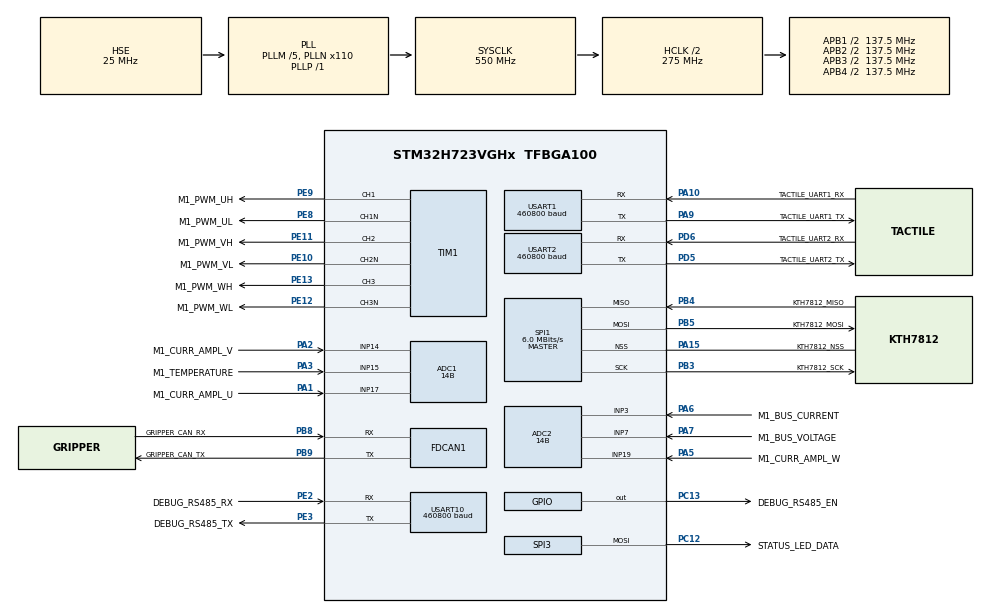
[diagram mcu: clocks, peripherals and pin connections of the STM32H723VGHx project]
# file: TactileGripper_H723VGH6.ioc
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ADC1.Channel-1\#ChannelRegularConversion=ADC_CHANNEL_15
ADC1.ClockPrescaler=ADC_CLOCK_ASYNC_DIV1
ADC1.ContinuousConvMode=DISABLE
ADC1.ConversionDataManagement=ADC_CONVERSIONDATA_DR
ADC1.DiscontinuousConvMode=DISABLE
ADC1.EOCSelection=ADC_EOC_SINGLE_CONV
ADC1.EnableAnalogWatchDog1=false
ADC1.EnableAnalogWatchDog2=false
ADC1.EnableAnalogWatchDog3=false
ADC1.EnableInjectedConversion=ENABLE
ADC1.EnableRegularConversion=ENABLE
ADC1.ExternalTrigConv=ADC_SOFTWARE_START
ADC1.ExternalTrigConvEdge=ADC_EXTERNALTRIGCONVEDGE_NONE
ADC1.ExternalTrigInjecConv=ADC_EXTERNALTRIGINJEC_T1_TRGO
ADC1.ExternalTrigInjecConvEdge=ADC_EXTERNALTRIGINJECCONV_EDGE_RISING
ADC1.InjNumberOfConversion=2
ADC1.InjectedChannel-1\#ChannelInjectedConversion=ADC_CHANNEL_17
ADC1.InjectedChannel-2\#ChannelInjectedConversion=ADC_CHANNEL_14
ADC1.InjectedConvMode=Discontinuous
ADC1.InjectedOffset-1\#ChannelInjectedConversion=0
ADC1.InjectedOffset-2\#ChannelInjectedConversion=0
ADC1.InjectedOffsetNumber-1\#ChannelInjectedConversion=ADC_OFFSET_NONE
ADC1.InjectedOffsetNumber-2\#ChannelInjectedConversion=ADC_OFFSET_NONE
ADC1.InjectedRank-1\#ChannelInjectedConversion=1
ADC1.InjectedRank-2\#ChannelInjectedConversion=2
ADC1.InjectedSamplingTime-1\#ChannelInjectedConversion=ADC_SAMPLETIME_8CYCLES_5
ADC1.InjectedSamplingTime-2\#ChannelInjectedConversion=ADC_SAMPLETIME_8CYCLES_5
ADC1.LeftBitShift=ADC_LEFTBITSHIFT_2
ADC1.LowPowerAutoWait=DISABLE
ADC1.NbrOfConversion=1
ADC1.NbrOfConversionFlag=1
ADC1.Offset-1\#ChannelRegularConversion=0
ADC1.OffsetNumber-1\#ChannelRegularConversion=ADC_OFFSET_NONE
ADC1.Overrun=ADC_OVR_DATA_PRESERVED
ADC1.Rank-1\#ChannelRegularConversion=1
ADC1.Resolution=ADC_RESOLUTION_14B
ADC1.SamplingTime-1\#ChannelRegularConversion=ADC_SAMPLETIME_64CYCLES_5
ADC1.ScanConvMode=ADC_SCAN_ENABLE
ADC1.injectedQueueMode=DISABLE
ADC1.master=1
ADC2.AWD1HighThreshold=9243
ADC2.AWD1ITMode=ENABLE
ADC2.AWD1LowThreshold=7257
ADC2.Channel-1\#ChannelRegularConversion=ADC_CHANNEL_7
ADC2.ClockPrescaler=ADC_CLOCK_ASYNC_DIV1
ADC2.ContinuousConvMode=DISABLE
ADC2.ConversionDataManagement=ADC_CONVERSIONDATA_DR
ADC2.DiscontinuousConvMode=DISABLE
ADC2.EOCSelection=ADC_EOC_SINGLE_CONV
ADC2.EnableAnalogWatchDog1=true
ADC2.EnableAnalogWatchDog2=false
ADC2.EnableAnalogWatchDog3=false
ADC2.EnableInjectedConversion=ENABLE
ADC2.EnableRegularConversion=ENABLE
ADC2.ExternalTrigConv=ADC_SOFTWARE_START
ADC2.ExternalTrigConvEdge=ADC_EXTERNALTRIGCONVEDGE_NONE
ADC2.ExternalTrigInjecConv=ADC_EXTERNALTRIGINJEC_T1_TRGO
ADC2.ExternalTrigInjecConvEdge=ADC_EXTERNALTRIGINJECCONV_EDGE_RISING
ADC2.InjNumberOfConversion=2
ADC2.InjectedChannel-1\#ChannelInjectedConversion=ADC_CHANNEL_19
ADC2.InjectedChannel-2\#ChannelInjectedConversion=ADC_CHANNEL_14
ADC2.InjectedConvMode=Discontinuous
ADC2.InjectedOffset-1\#ChannelInjectedConversion=0
ADC2.InjectedOffset-2\#ChannelInjectedConversion=0
ADC2.InjectedOffsetNumber-1\#ChannelInjectedConversion=ADC_OFFSET_NONE
ADC2.InjectedOffsetNumber-2\#ChannelInjectedConversion=ADC_OFFSET_NONE
ADC2.InjectedRank-1\#ChannelInjectedConversion=1
ADC2.InjectedRank-2\#ChannelInjectedConversion=2
ADC2.InjectedSamplingTime-1\#ChannelInjectedConversion=ADC_SAMPLETIME_8CYCLES_5
ADC2.InjectedSamplingTime-2\#ChannelInjectedConversion=ADC_SAMPLETIME_8CYCLES_5
ADC2.LeftBitShift=ADC_LEFTBITSHIFT_2
ADC2.LowPowerAutoWait=DISABLE
ADC2.NbrOfConversion=1
ADC2.NbrOfConversionFlag=1
ADC2.Offset-1\#ChannelRegularConversion=0
ADC2.OffsetNumber-1\#ChannelRegularConversion=ADC_OFFSET_NONE
ADC2.Overrun=ADC_OVR_DATA_PRESERVED
ADC2.Rank-1\#ChannelRegularConversion=1
ADC2.Resolution=ADC_RESOLUTION_14B
ADC2.SamplingTime-1\#ChannelRegularConversion=ADC_SAMPLETIME_64CYCLES_5
ADC2.ScanConvMode=ADC_SCAN_ENABLE
ADC2.WatchdogChannel=ADC_CHANNEL_3
ADC2.WatchdogMode=ADC_ANALOGWATCHDOG_SINGLE_REG
ADC2.injectedQueueMode=DISABLE
CORTEX_M7.default_mode_Activation=1
DMA.Request0=USART1_RX
DMA.Request1=USART1_TX
DMA.Request2=SPI3_TX
DMA.Request3=USART2_RX
DMA.RequestsNb=4
DMA.SPI3_TX.2.Direction=DMA_MEMORY_TO_PERIPH
DMA.SPI3_TX.2.EventEnable=DISABLE
DMA.SPI3_TX.2.FIFOMode=DMA_FIFOMODE_DISABLE
DMA.SPI3_TX.2.Instance=DMA1_Stream2
DMA.SPI3_TX.2.MemDataAlignment=DMA_MDATAALIGN_BYTE
DMA.SPI3_TX.2.MemInc=DMA_MINC_ENABLE
DMA.SPI3_TX.2.Mode=DMA_NORMAL
DMA.SPI3_TX.2.PeriphDataAlignment=DMA_PDATAALIGN_BYTE
DMA.SPI3_TX.2.PeriphInc=DMA_PINC_DISABLE
DMA.SPI3_TX.2.Priority=DMA_PRIORITY_LOW
DMA.USART1_RX.0.Direction=DMA_PERIPH_TO_MEMORY
DMA.USART1_RX.0.EventEnable=DISABLE
DMA.USART1_RX.0.FIFOMode=DMA_FIFOMODE_DISABLE
DMA.USART1_RX.0.Instance=DMA1_Stream0
DMA.USART1_RX.0.MemDataAlignment=DMA_MDATAALIGN_BYTE
DMA.USART1_RX.0.MemInc=DMA_MINC_ENABLE
DMA.USART1_RX.0.Mode=DMA_CIRCULAR
DMA.USART1_RX.0.PeriphDataAlignment=DMA_PDATAALIGN_BYTE
DMA.USART1_RX.0.PeriphInc=DMA_PINC_DISABLE
DMA.USART1_RX.0.Priority=DMA_PRIORITY_HIGH
DMA.USART1_TX.1.Direction=DMA_MEMORY_TO_PERIPH
DMA.USART1_TX.1.EventEnable=DISABLE
DMA.USART1_TX.1.FIFOMode=DMA_FIFOMODE_DISABLE
DMA.USART1_TX.1.Instance=DMA1_Stream1
DMA.USART1_TX.1.MemDataAlignment=DMA_MDATAALIGN_BYTE
DMA.USART1_TX.1.MemInc=DMA_MINC_ENABLE
DMA.USART1_TX.1.Mode=DMA_NORMAL
DMA.USART1_TX.1.PeriphDataAlignment=DMA_PDATAALIGN_BYTE
DMA.USART1_TX.1.PeriphInc=DMA_PINC_DISABLE
DMA.USART1_TX.1.Priority=DMA_PRIORITY_LOW
DMA.USART2_RX.3.Direction=DMA_PERIPH_TO_MEMORY
DMA.USART2_RX.3.EventEnable=DISABLE
DMA.USART2_RX.3.FIFOMode=DMA_FIFOMODE_DISABLE
DMA.USART2_RX.3.Instance=DMA1_Stream3
DMA.USART2_RX.3.MemDataAlignment=DMA_MDATAALIGN_BYTE
DMA.USART2_RX.3.MemInc=DMA_MINC_ENABLE
DMA.USART2_RX.3.Mode=DMA_CIRCULAR
DMA.USART2_RX.3.PeriphDataAlignment=DMA_PDATAALIGN_BYTE
DMA.USART2_RX.3.PeriphInc=DMA_PINC_DISABLE
DMA.USART2_RX.3.Priority=DMA_PRIORITY_HIGH
FREERTOS.INCLUDE_vTaskDelayUntil=1
FREERTOS.Tasks01=defaultTask,24,128,StartDefaultTask,Default,NULL,Dynamic,NULL,NULL
FREERTOS.configTICK_RATE_HZ=2000
FDCAN1.AutoRetransmission=ENABLE
FDCAN1.CalculateBaudRateNominal=500000
FDCAN1.CalculateTimeBitNominal=2000
FDCAN1.CalculateTimeQuantumNominal=125.0
FDCAN1.ExtFiltersNbr=2
FDCAN1.FrameFormat=FDCAN_FRAME_CLASSIC
FDCAN1.NominalPrescaler=6
FDCAN1.NominalSyncJumpWidth=2
FDCAN1.NominalTimeSeg1=13
FDCAN1.NominalTimeSeg2=2
FDCAN1.RxFifo0ElmtsNbr=8
FDCAN1.StdFiltersNbr=0
FDCAN1.TxBuffersNbr=0
FDCAN1.TxFifoQueueElmtsNbr=8
Mcu.Family=STM32H7
Mcu.Name=STM32H723VGHx
Mcu.Package=TFBGA100
NVIC.ADC_IRQn=true\:2\:0\:true\:true\:false\:5\:false\:true\:true
NVIC.DMA1_Stream0_IRQn=true\:7\:0\:true\:true\:false\:true\:false\:true\:true
NVIC.DMA1_Stream2_IRQn=true\:7\:0\:true\:true\:false\:true\:false\:true\:true
NVIC.DMA1_Stream3_IRQn=true\:7\:0\:true\:true\:false\:true\:false\:true\:true
NVIC.FDCAN1_IT0_IRQn=true\:6\:0\:true\:true\:false\:true\:false\:true\:true
NVIC.PriorityGroup=NVIC_PRIORITYGROUP_4
NVIC.TIM1_BRK_IRQn=true\:1\:0\:true\:true\:false\:3\:false\:true\:true
NVIC.TIM1_UP_IRQn=true\:0\:0\:true\:true\:false\:4\:false\:true\:true
NVIC.TIM6_DAC_IRQn=true\:15\:0\:false\:false\:true\:false\:false\:true\:true
NVIC.SPI3_IRQn=true\:7\:0\:true\:true\:false\:true\:false\:true\:true
NVIC.TimeBase=TIM6_DAC_IRQn
NVIC.TimeBaseIP=TIM6
NVIC.USART1_IRQn=true\:6\:0\:true\:true\:false\:1\:false\:true\:true
NVIC.USART2_IRQn=true\:6\:0\:true\:true\:false\:true\:false\:true\:true
NVIC.USART10_IRQn=true\:6\:0\:true\:true\:false\:true\:false\:true\:true
PH0-OSC_IN.Mode=HSE-External-Oscillator
PH0-OSC_IN.Signal=RCC_OSC_IN
PH1-OSC_OUT.Mode=HSE-External-Oscillator
PH1-OSC_OUT.Signal=RCC_OSC_OUT
PA1.GPIO_Label=M1_CURR_AMPL_U
PA1.Mode=IN17-Single-Ended
PA1.Signal=ADC1_INP17
PA10.GPIO_Label=TACTILE_UART1_RX
PA10.GPIO_Mode=GPIO_MODE_AF_PP
PA10.GPIO_PuPd=GPIO_PULLUP
PA10.GPIO_Speed=GPIO_SPEED_FREQ_VERY_HIGH
PA10.Mode=Asynchronous
PA10.Signal=USART1_RX
PA15.GPIO_Label=KTH7812_NSS
PA15.GPIO_PuPd=GPIO_PULLUP
PA15.GPIO_Speed=GPIO_SPEED_FREQ_VERY_HIGH
PA15.Mode=Full_Duplex_Master
PA15.Signal=SPI1_NSS
PA2.GPIO_Label=M1_CURR_AMPL_V
PA2.Signal=SharedAnalog_PA2
PA3.GPIO_Label=M1_TEMPERATURE
PA3.Mode=IN15-Single-Ended
PA3.Signal=ADC1_INP15
PA5.GPIO_Label=M1_CURR_AMPL_W
PA5.Mode=IN19-Single-Ended
PA5.Signal=ADC2_INP19
PA6.GPIO_Label=M1_BUS_CURRENT
PA6.Mode=IN3-Single-Ended
PA6.Signal=ADC2_INP3
PA7.GPIO_Label=M1_BUS_VOLTAGE
PA7.Mode=IN7-Single-Ended
PA7.Signal=ADC2_INP7
PA9.GPIO_Label=TACTILE_UART1_TX
PA9.GPIO_Mode=GPIO_MODE_AF_PP
PA9.GPIO_PuPd=GPIO_NOPULL
PA9.GPIO_Speed=GPIO_SPEED_FREQ_VERY_HIGH
PA9.Mode=Asynchronous
PA9.Signal=USART1_TX
PC12.GPIO_Label=STATUS_LED_DATA
PC12.GPIO_PuPd=GPIO_NOPULL
PC12.GPIO_Speed=GPIO_SPEED_FREQ_VERY_HIGH
PC12.Mode=Full_Duplex_Master
PC12.Signal=SPI3_MOSI
PC13.GPIO_Label=DEBUG_RS485_EN
PC13.GPIO_ModeDefaultOutputPP=GPIO_MODE_OUTPUT_PP
PC13.GPIO_PuPd=GPIO_NOPULL
PC13.GPIO_Speed=GPIO_SPEED_FREQ_HIGH
PC13.PinState=GPIO_PIN_RESET
PC13.Signal=GPIO_Output
PB3.GPIO_Label=KTH7812_SCK
PB3.GPIO_PuPd=GPIO_NOPULL
PB3.GPIO_Speed=GPIO_SPEED_FREQ_VERY_HIGH
PB3.Mode=Full_Duplex_Master
PB3.Signal=SPI1_SCK
PB4.GPIO_Label=KTH7812_MISO
PB4.GPIO_PuPd=GPIO_NOPULL
PB4.GPIO_Speed=GPIO_SPEED_FREQ_VERY_HIGH
PB4.Mode=Full_Duplex_Master
PB4.Signal=SPI1_MISO
PB5.GPIO_Label=KTH7812_MOSI
PB5.GPIO_PuPd=GPIO_NOPULL
PB5.GPIO_Speed=GPIO_SPEED_FREQ_VERY_HIGH
PB5.Mode=Full_Duplex_Master
PB5.Signal=SPI1_MOSI
PB8.GPIO_Label=GRIPPER_CAN_RX
PB8.Mode=FDCAN_Activate
PB8.Signal=FDCAN1_RX
PB9.GPIO_Label=GRIPPER_CAN_TX
PB9.Mode=FDCAN_Activate
PB9.Signal=FDCAN1_TX
PD5.GPIO_Label=TACTILE_UART2_TX
PD5.GPIO_Mode=GPIO_MODE_AF_PP
PD5.GPIO_PuPd=GPIO_NOPULL
PD5.GPIO_Speed=GPIO_SPEED_FREQ_VERY_HIGH
PD5.Mode=Asynchronous
PD5.Signal=USART2_TX
PD6.GPIO_Label=TACTILE_UART2_RX
PD6.GPIO_Mode=GPIO_MODE_AF_PP
PD6.GPIO_PuPd=GPIO_PULLUP
PD6.GPIO_Speed=GPIO_SPEED_FREQ_VERY_HIGH
PD6.Mode=Asynchronous
PD6.Signal=USART2_RX
PE2.GPIO_Label=DEBUG_RS485_RX
PE2.GPIO_Mode=GPIO_MODE_AF_PP
PE2.GPIO_PuPd=GPIO_NOPULL
PE2.GPIO_Speed=GPIO_SPEED_FREQ_VERY_HIGH
PE2.Mode=Asynchronous
PE2.Signal=USART10_RX
PE3.GPIO_Label=DEBUG_RS485_TX
PE3.GPIO_Mode=GPIO_MODE_AF_PP
PE3.GPIO_PuPd=GPIO_NOPULL
PE3.GPIO_Speed=GPIO_SPEED_FREQ_VERY_HIGH
PE3.Mode=Asynchronous
PE3.Signal=USART10_TX
PE10.GPIO_Label=M1_PWM_VL
PE10.GPIO_PuPd=GPIO_PULLDOWN
PE10.GPIO_Speed=GPIO_SPEED_FREQ_VERY_HIGH
PE10.Mode=PWM Generation2 CH2 CH2N
PE10.Signal=TIM1_CH2N
PE11.GPIO_Label=M1_PWM_VH
PE11.GPIO_PuPd=GPIO_PULLDOWN
PE11.GPIO_Speed=GPIO_SPEED_FREQ_VERY_HIGH
PE11.Signal=S_TIM1_CH2
PE12.GPIO_Label=M1_PWM_WL
PE12.GPIO_PuPd=GPIO_PULLDOWN
PE12.GPIO_Speed=GPIO_SPEED_FREQ_VERY_HIGH
PE12.Mode=PWM Generation3 CH3 CH3N
PE12.Signal=TIM1_CH3N
PE13.GPIO_Label=M1_PWM_WH
PE13.GPIO_PuPd=GPIO_PULLDOWN
PE13.GPIO_Speed=GPIO_SPEED_FREQ_VERY_HIGH
PE13.Signal=S_TIM1_CH3
PE8.GPIO_Label=M1_PWM_UL
PE8.GPIO_PuPd=GPIO_PULLDOWN
PE8.GPIO_Speed=GPIO_SPEED_FREQ_VERY_HIGH
PE8.Mode=PWM Generation1 CH1 CH1N
PE8.Signal=TIM1_CH1N
PE9.GPIO_Label=M1_PWM_UH
PE9.GPIO_PuPd=GPIO_PULLDOWN
PE9.GPIO_Speed=GPIO_SPEED_FREQ_VERY_HIGH
PE9.Signal=S_TIM1_CH1
ProjectManager.HeapSize=0x200
ProjectManager.StackSize=0x400
ProjectManager.TargetToolchain=MDK-ARM V5.32
RCC.ADCFreq_Value=24000000
RCC.APB1Freq_Value=137500000
RCC.APB2Freq_Value=137500000
RCC.APB3Freq_Value=137500000
RCC.APB4Freq_Value=137500000
RCC.CortexFreq_Value=550000000
RCC.D1PPRE=RCC_APB3_DIV2
RCC.D2PPRE1=RCC_APB1_DIV2
RCC.D2PPRE2=RCC_APB2_DIV2
RCC.D3PPRE=RCC_APB4_DIV2
RCC.DIVM1=5
RCC.DIVM2=5
RCC.DIVN1=110
RCC.DIVN2=96
RCC.DIVP1=1
RCC.DIVP2=20
RCC.DIVQ2=10
RCC.DIVR2=10
RCC.HCLKFreq_Value=275000000
RCC.HPRE=RCC_HCLK_DIV2
RCC.HSE_VALUE=25000000
RCC.PLL2FRACN=0
RCC.PLL3FRACN=0
RCC.PLLFRACN=0
RCC.PLLSourceVirtual=RCC_PLLSOURCE_HSE
RCC.SPI123CLockSelection=RCC_SPI123CLKSOURCE_PLL2
RCC.SYSCLKFreq_VALUE=550000000
RCC.SYSCLKSource=RCC_SYSCLKSOURCE_PLLCLK
RCC.SupplySource=PWR_LDO_SUPPLY
SH.S_TIM1_CH1.0=TIM1_CH1,PWM Generation1 CH1 CH1N
SH.S_TIM1_CH2.0=TIM1_CH2,PWM Generation2 CH2 CH2N
SH.S_TIM1_CH3.0=TIM1_CH3,PWM Generation3 CH3 CH3N
SH.SharedAnalog_PA2.0=ADC1_INP14,IN14-Single-Ended
SH.SharedAnalog_PA2.1=ADC2_INP14,IN14-Single-Ended
SPI1.BaudRatePrescaler=SPI_BAUDRATEPRESCALER_8
SPI1.CLKPhase=SPI_PHASE_2EDGE
SPI1.CLKPolarity=SPI_POLARITY_HIGH
SPI1.CalculateBaudRate=6.0 MBits/s
SPI1.DataSize=SPI_DATASIZE_16BIT
SPI1.Direction=SPI_DIRECTION_2LINES
SPI1.FirstBit=SPI_FIRSTBIT_MSB
SPI1.MasterSSIdleness=SPI_MASTER_SS_IDLENESS_01CYCLE
SPI1.Mode=SPI_MODE_MASTER
SPI1.NSS=SPI_NSS_HARD_OUTPUT
SPI1.NSSPMode=SPI_NSS_PULSE_DISABLE
SPI1.VirtualType=VM_MASTER
SPI3.BaudRatePrescaler=SPI_BAUDRATEPRESCALER_16
SPI3.CalculateBaudRate=3.0 MBits/s
SPI3.CLKPhase=SPI_PHASE_1EDGE
SPI3.CLKPolarity=SPI_POLARITY_LOW
SPI3.DataSize=SPI_DATASIZE_8BIT
SPI3.Direction=SPI_DIRECTION_2LINES
SPI3.FirstBit=SPI_FIRSTBIT_MSB
SPI3.MasterKeepIOState=SPI_MASTER_KEEP_IO_STATE_ENABLE
SPI3.Mode=SPI_MODE_MASTER
SPI3.NSS=SPI_NSS_SOFT
SPI3.NSSPMode=SPI_NSS_PULSE_DISABLE
SPI3.VirtualType=VM_MASTER
TIM1.AutoReloadPreload=TIM_AUTORELOAD_PRELOAD_DISABLE
TIM1.AutomaticOutput=TIM_AUTOMATICOUTPUT_DISABLE
TIM1.Break2State=TIM_BREAK2_DISABLE
TIM1.BreakState=TIM_BREAK_DISABLE
TIM1.Channel=TIM_CHANNEL_4
TIM1.Channel-PWM\ Generation1\ CH1\ CH1N=TIM_CHANNEL_1
TIM1.Channel-PWM\ Generation2\ CH2\ CH2N=TIM_CHANNEL_2
TIM1.Channel-PWM\ Generation3\ CH3\ CH3N=TIM_CHANNEL_3
TIM1.Channel-PWM\ Generation4\ No\ Output=TIM_CHANNEL_4
TIM1.ClockDivision=TIM_CLOCKDIVISION_DIV1
TIM1.CounterMode=TIM_COUNTERMODE_CENTERALIGNED1
TIM1.DeadTime=(DEAD_TIME_COUNTS)
TIM1.LockLevel=TIM_LOCKLEVEL_OFF
TIM1.OCFastMode_PWM=TIM_OCFAST_DISABLE
TIM1.OCIdleState_1=TIM_OCIDLESTATE_RESET
TIM1.OCIdleState_2=TIM_OCIDLESTATE_RESET
TIM1.OCIdleState_3=TIM_OCIDLESTATE_RESET
TIM1.OCIdleState_4=TIM_OCIDLESTATE_RESET
TIM1.OCMode_PWM-PWM\ Generation1\ CH1\ CH1N=TIM_OCMODE_PWM1
TIM1.OCMode_PWM-PWM\ Generation2\ CH2\ CH2N=TIM_OCMODE_PWM1
TIM1.OCMode_PWM-PWM\ Generation3\ CH3\ CH3N=TIM_OCMODE_PWM1
TIM1.OCMode_PWM-PWM\ Generation4\ No\ Output=TIM_OCMODE_PWM2
TIM1.OCNIdleState_1=TIM_OCNIDLESTATE_RESET
TIM1.OCNIdleState_2=TIM_OCNIDLESTATE_RESET
TIM1.OCNIdleState_3=TIM_OCNIDLESTATE_RESET
TIM1.OCNPolarity_1=TIM_OCNPOLARITY_HIGH
TIM1.OCNPolarity_2=TIM_OCNPOLARITY_HIGH
TIM1.OCNPolarity_3=TIM_OCNPOLARITY_HIGH
TIM1.OCPolarity_1=TIM_OCPOLARITY_HIGH
TIM1.OCPolarity_2=TIM_OCPOLARITY_HIGH
TIM1.OCPolarity_3=TIM_OCPOLARITY_HIGH
TIM1.OCPolarity_4=TIM_OCPOLARITY_HIGH
TIM1.OffStateIDLEMode=TIM_OSSI_ENABLE
TIM1.OffStateRunMode=TIM_OSSR_ENABLE
TIM1.Period=((PWM_PERIOD_CYCLES) / 2)
TIM1.Prescaler=((TIM_CLOCK_DIVIDER) - 1)
TIM1.Pulse-PWM\ Generation1\ CH1\ CH1N=((PWM_PERIOD_CYCLES) / 4)
TIM1.Pulse-PWM\ Generation2\ CH2\ CH2N=((PWM_PERIOD_CYCLES) / 4)
TIM1.Pulse-PWM\ Generation3\ CH3\ CH3N=((PWM_PERIOD_CYCLES) / 4)
TIM1.Pulse-PWM\ Generation4\ No\ Output=(((PWM_PERIOD_CYCLES) / 2) - (HTMIN))
TIM1.RepetitionCounter=(REP_COUNTER)
TIM1.TIM_MasterOutputTrigger=TIM_TRGO_OC4REF
TIM1.TIM_MasterOutputTrigger2=TIM_TRGO2_RESET
TIM1.TIM_MasterSlaveMode=TIM_MASTERSLAVEMODE_DISABLE
USART1.BaudRate=460800
USART1.OneBitSampling=UART_ONE_BIT_SAMPLE_ENABLE
USART1.VirtualMode-Asynchronous=VM_ASYNC
USART1.WordLength=WORDLENGTH_8B
USART2.BaudRate=460800
USART2.OneBitSampling=UART_ONE_BIT_SAMPLE_ENABLE
USART2.VirtualMode-Asynchronous=VM_ASYNC
USART2.WordLength=WORDLENGTH_8B
USART10.BaudRate=460800
USART10.VirtualMode-Asynchronous=VM_ASYNC
USART10.WordLength=WORDLENGTH_8B
VP_FREERTOS_VS_CMSIS_V2.Mode=CMSIS_V2
VP_MEMORYMAP_VS_MEMORYMAP.Mode=CurAppReg
VP_TIM1_VS_no_output4.Mode=PWM Generation4 No Output
VP_SYS_VS_tim6.Mode=TIM6
board=custom

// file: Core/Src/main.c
/* USER CODE BEGIN Header */
/**
  ******************************************************************************
  * @file           : main.c
  * @brief          : Main program body
  ******************************************************************************
  * @attention
  *
  * Copyright (c) 2026 STMicroelectronics.
  * All rights reserved.
  *
  * This software is licensed under terms that can be found in the LICENSE file
  * in the root directory of this software component.
  * If no LICENSE file comes with this software, it is provided AS-IS.
  *
  ******************************************************************************
  */
/* USER CODE END Header */
#include "main.h"
#include "FreeRTOS.h"
#include "cmsis_os2.h"

/* USER CODE BEGIN Includes */
#include "motorcontrol.h"
#include "fdcan.h"
#include "parameters_conversion.h"
#include "motor_control_service.h"
#include "gripper_service.h"
#include "communication_service.h"
#include "gripper_can_config.h"
#include "status_indicator.h"
#include "debug_monitor.h"
#include "debug_uart_transport.h"
#include "tactile_sensor.h"
/* USER CODE END Includes */

/* USER CODE BEGIN PD */
#define CURRENT_ADC_CALIBRATION_MODE  0
#define PWM_INSPECTION_MODE           0  /* FOC17正向转矩已产生位移，FOC18用于验证反向转矩对称性。 */

/* USER CODE END PD */

ADC_HandleTypeDef hadc1;
ADC_HandleTypeDef hadc2;
SPI_HandleTypeDef hspi1;
SPI_HandleTypeDef hspi3;
TIM_HandleTypeDef htim1;
UART_HandleTypeDef huart1;
UART_HandleTypeDef huart2;
UART_HandleTypeDef huart10;
DMA_HandleTypeDef hdma_usart1_rx;
DMA_HandleTypeDef hdma_usart1_tx;
DMA_HandleTypeDef hdma_usart2_rx;
DMA_HandleTypeDef hdma_spi3_tx;

/* Definitions for defaultTask */
osThreadId_t defaultTaskHandle;
const osThreadAttr_t defaultTask_attributes = {
  .name = "defaultTask",
  .stack_size = 128 * 4,
  .priority = (osPriority_t) osPriorityNormal,
};

void SystemClock_Config(void);
static void MPU_Config(void);
static void MX_GPIO_Init(void);
static void MX_DMA_Init(void);
static void MX_ADC1_Init(void);
static void MX_ADC2_Init(void);
static void MX_SPI1_Init(void);
static void MX_SPI3_Init(void);
static void MX_TIM1_Init(void);
static void MX_USART1_UART_Init(void);
static void MX_USART2_UART_Init(void);
static void MX_USART10_UART_Init(void);
static void MX_NVIC_Init(void);
static void PeriphCommonClock_Config(void);
void HAL_TIM_MspPostInit(TIM_HandleTypeDef *htim);
void StartDefaultTask(void *argument);

int main(void)
{
  uint32_t bootResetFlags;

  /* MPU Configuration--------------------------------------------------------*/
  MPU_Config();
  bootResetFlags = RCC->RSR;

  /* MCU Configuration--------------------------------------------------------*/

  /* Reset of all peripherals, Initializes the Flash interface and the Systick. */
  HAL_Init();

  /* Configure the system clock */
  SystemClock_Config();

  PeriphCommonClock_Config();

  /* Initialize all configured peripherals */
  MX_GPIO_Init();
  MX_DMA_Init();
  MX_ADC1_Init();
  MX_ADC2_Init();
#if GRIPPER_CAN_ENABLE
  MX_FDCAN1_Init();
#endif
  MX_SPI1_Init();
  MX_SPI3_Init();
  MX_TIM1_Init();
  MX_USART1_UART_Init();
  MX_USART2_UART_Init();
  MX_USART10_UART_Init();
  DebugUartTransport_InitRs485(&huart10,
                               DEBUG_RS485_EN_GPIO_Port,
                               DEBUG_RS485_EN_Pin);
  TactileSensor_Init(&huart1, &huart2);
#if PWM_INSPECTION_MODE
  DebugMonitor_RunPwmBaselineVectorInspection(bootResetFlags);
#else
  DebugMonitor_PrintResetReason(bootResetFlags);
#endif
#if !CURRENT_ADC_CALIBRATION_MODE
  /* 先完成ADC2母线电流零偏读取，再由MCSDK启动双ADC注入转换。 */
  (void)DebugMonitor_CalibrateBusCurrent();
#endif
  (void)DebugUartTransport_Write("BOOT,mc_init_begin\r\n", 10U);
  MX_MotorControl_Init();
  (void)DebugUartTransport_Write("BOOT,mc_init_done\r\n", 10U);
#if CURRENT_ADC_CALIBRATION_MODE
  DebugMonitor_RunCurrentAdcCalibration();
#endif
  MX_NVIC_Init();
  (void)DebugUartTransport_Write("BOOT,nvic_done\r\n", 10U);

  /* Init scheduler */
  osKernelInitialize();
  DebugUartTransport_InitRs485(&huart10,
                               DEBUG_RS485_EN_GPIO_Port,
                               DEBUG_RS485_EN_Pin);

  /* Create the thread(s) */
  /* creation of defaultTask */
  defaultTaskHandle = osThreadNew(StartDefaultTask, NULL, &defaultTask_attributes);

  /* USER CODE BEGIN RTOS_THREADS */
  TactileSensor_CreateTask();
  MotorControlService_CreateTasks();
  GripperService_CreateTask();
#if GRIPPER_CAN_ENABLE
  CommunicationService_CreateTask();
#endif
  StatusIndicator_CreateTask();
  DebugMonitor_CreateTask();
  /* USER CODE END RTOS_THREADS */

  /* Start scheduler */
  (void)DebugUartTransport_Write("BOOT,kernel_start\r\n", 10U);
  osKernelStart();

  /* We should never get here as control is now taken by the scheduler */

  /* Infinite loop */
  while (1)
  {

  }
}

void SystemClock_Config(void)
{
  RCC_OscInitTypeDef RCC_OscInitStruct = {0};
  RCC_ClkInitTypeDef RCC_ClkInitStruct = {0};

  /** Supply configuration update enable
  */
  HAL_PWREx_ConfigSupply(PWR_LDO_SUPPLY);

  /** Configure the main internal regulator output voltage
  */
  __HAL_PWR_VOLTAGESCALING_CONFIG(PWR_REGULATOR_VOLTAGE_SCALE0);

  while(!__HAL_PWR_GET_FLAG(PWR_FLAG_VOSRDY)) {}

  /** Initializes the RCC Oscillators according to the specified parameters
  * in the RCC_OscInitTypeDef structure.
  */
  RCC_OscInitStruct.OscillatorType = RCC_OSCILLATORTYPE_HSE;
  RCC_OscInitStruct.HSEState = RCC_HSE_ON;
  RCC_OscInitStruct.PLL.PLLState = RCC_PLL_ON;
  RCC_OscInitStruct.PLL.PLLSource = RCC_PLLSOURCE_HSE;
  RCC_OscInitStruct.PLL.PLLM = 5;
  RCC_OscInitStruct.PLL.PLLN = 110;
  RCC_OscInitStruct.PLL.PLLP = 1;
  RCC_OscInitStruct.PLL.PLLQ = 2;
  RCC_OscInitStruct.PLL.PLLR = 2;
  RCC_OscInitStruct.PLL.PLLRGE = RCC_PLL1VCIRANGE_2;
  RCC_OscInitStruct.PLL.PLLVCOSEL = RCC_PLL1VCOWIDE;
  RCC_OscInitStruct.PLL.PLLFRACN = 0;
  if (HAL_RCC_OscConfig(&RCC_OscInitStruct) != HAL_OK)
  {
    Error_Handler();
  }

  /** Initializes the CPU, AHB and APB buses clocks
  */
  RCC_ClkInitStruct.ClockType = RCC_CLOCKTYPE_HCLK|RCC_CLOCKTYPE_SYSCLK
                              |RCC_CLOCKTYPE_PCLK1|RCC_CLOCKTYPE_PCLK2
                              |RCC_CLOCKTYPE_D3PCLK1|RCC_CLOCKTYPE_D1PCLK1;
  RCC_ClkInitStruct.SYSCLKSource = RCC_SYSCLKSOURCE_PLLCLK;
  RCC_ClkInitStruct.SYSCLKDivider = RCC_SYSCLK_DIV1;
  RCC_ClkInitStruct.AHBCLKDivider = RCC_HCLK_DIV2;
  RCC_ClkInitStruct.APB3CLKDivider = RCC_APB3_DIV2;
  RCC_ClkInitStruct.APB1CLKDivider = RCC_APB1_DIV2;
  RCC_ClkInitStruct.APB2CLKDivider = RCC_APB2_DIV2;
  RCC_ClkInitStruct.APB4CLKDivider = RCC_APB4_DIV2;

  if (HAL_RCC_ClockConfig(&RCC_ClkInitStruct, FLASH_LATENCY_3) != HAL_OK)
  {
    Error_Handler();
  }
}

static void PeriphCommonClock_Config(void)
{
  RCC_PeriphCLKInitTypeDef PeriphClkInitStruct = {0};

  PeriphClkInitStruct.PeriphClockSelection = RCC_PERIPHCLK_ADC |
                                             RCC_PERIPHCLK_SPI1 |
                                             RCC_PERIPHCLK_USART1 |
                                             RCC_PERIPHCLK_USART2 |
                                             RCC_PERIPHCLK_USART10;
#if GRIPPER_CAN_ENABLE
  PeriphClkInitStruct.PeriphClockSelection |= RCC_PERIPHCLK_FDCAN;
#endif
  PeriphClkInitStruct.PLL2.PLL2M = 5;
  PeriphClkInitStruct.PLL2.PLL2N = 96;
  PeriphClkInitStruct.PLL2.PLL2P = 20;
  PeriphClkInitStruct.PLL2.PLL2Q = 10;
  PeriphClkInitStruct.PLL2.PLL2R = 10;
  PeriphClkInitStruct.PLL2.PLL2RGE = RCC_PLL2VCIRANGE_2;
  PeriphClkInitStruct.PLL2.PLL2VCOSEL = RCC_PLL2VCOWIDE;
  PeriphClkInitStruct.PLL2.PLL2FRACN = 0;
  PeriphClkInitStruct.AdcClockSelection = RCC_ADCCLKSOURCE_PLL2;
  PeriphClkInitStruct.Spi123ClockSelection = RCC_SPI123CLKSOURCE_PLL2;
  PeriphClkInitStruct.Usart16ClockSelection = RCC_USART16CLKSOURCE_D2PCLK2;
  PeriphClkInitStruct.Usart234578ClockSelection =
    RCC_USART234578CLKSOURCE_D2PCLK1;
#if GRIPPER_CAN_ENABLE
  PeriphClkInitStruct.FdcanClockSelection = RCC_FDCANCLKSOURCE_PLL2;
#endif
  if (HAL_RCCEx_PeriphCLKConfig(&PeriphClkInitStruct) != HAL_OK)
  {
    Error_Handler();
  }
}

static void MX_ADC1_Init(void)
{
  ADC_MultiModeTypeDef multimode = {0};
  ADC_InjectionConfTypeDef injected = {0};
  ADC_ChannelConfTypeDef regular = {0};

  hadc1.Instance = ADC1;
  hadc1.Init.ClockPrescaler = ADC_CLOCK_ASYNC_DIV1;
  hadc1.Init.Resolution = ADC_RESOLUTION_14B;
  hadc1.Init.ScanConvMode = ADC_SCAN_ENABLE;
  hadc1.Init.EOCSelection = ADC_EOC_SINGLE_CONV;
  hadc1.Init.LowPowerAutoWait = DISABLE;
  hadc1.Init.ContinuousConvMode = DISABLE;
  hadc1.Init.NbrOfConversion = 1;
  hadc1.Init.DiscontinuousConvMode = DISABLE;
  hadc1.Init.ExternalTrigConv = ADC_SOFTWARE_START;
  hadc1.Init.ExternalTrigConvEdge = ADC_EXTERNALTRIGCONVEDGE_NONE;
  hadc1.Init.ConversionDataManagement = ADC_CONVERSIONDATA_DR;
  hadc1.Init.Overrun = ADC_OVR_DATA_PRESERVED;
  hadc1.Init.LeftBitShift = ADC_LEFTBITSHIFT_2;
  hadc1.Init.OversamplingMode = DISABLE;
  if (HAL_ADC_Init(&hadc1) != HAL_OK)
  {
    Error_Handler();
  }

  multimode.Mode = ADC_MODE_INDEPENDENT;
  if (HAL_ADCEx_MultiModeConfigChannel(&hadc1, &multimode) != HAL_OK)
  {
    Error_Handler();
  }
  HAL_ADCEx_DisableInjectedQueue(&hadc1);

  injected.InjectedChannel = ADC_CHANNEL_17;
  injected.InjectedRank = ADC_INJECTED_RANK_1;
  injected.InjectedSamplingTime = ADC_SAMPLETIME_8CYCLES_5;
  injected.InjectedSingleDiff = ADC_SINGLE_ENDED;
  injected.InjectedOffsetNumber = ADC_OFFSET_NONE;
  injected.InjectedOffset = 0;
  injected.InjectedNbrOfConversion = 2;
  injected.InjectedDiscontinuousConvMode = ENABLE;
  injected.AutoInjectedConv = DISABLE;
  injected.QueueInjectedContext = DISABLE;
  injected.ExternalTrigInjecConv = ADC_EXTERNALTRIGINJEC_T1_TRGO;
  injected.ExternalTrigInjecConvEdge = ADC_EXTERNALTRIGINJECCONV_EDGE_RISING;
  injected.InjecOversamplingMode = DISABLE;
  if (HAL_ADCEx_InjectedConfigChannel(&hadc1, &injected) != HAL_OK)
  {
    Error_Handler();
  }
  injected.InjectedChannel = ADC_CHANNEL_14;
  injected.InjectedRank = ADC_INJECTED_RANK_2;
  if (HAL_ADCEx_InjectedConfigChannel(&hadc1, &injected) != HAL_OK)
  {
    Error_Handler();
  }

  regular.Channel = ADC_CHANNEL_15;
  regular.Rank = ADC_REGULAR_RANK_1;
  regular.SamplingTime = ADC_SAMPLETIME_64CYCLES_5;
  regular.SingleDiff = ADC_SINGLE_ENDED;
  regular.OffsetNumber = ADC_OFFSET_NONE;
  regular.Offset = 0;
  if (HAL_ADC_ConfigChannel(&hadc1, &regular) != HAL_OK)
  {
    Error_Handler();
  }
}

static void MX_ADC2_Init(void)
{
  ADC_InjectionConfTypeDef injected = {0};
  ADC_ChannelConfTypeDef regular = {0};
  ADC_AnalogWDGConfTypeDef watchdog = {0};

  hadc2.Instance = ADC2;
  hadc2.Init.ClockPrescaler = ADC_CLOCK_ASYNC_DIV1;
  hadc2.Init.Resolution = ADC_RESOLUTION_14B;
  hadc2.Init.ScanConvMode = ADC_SCAN_ENABLE;
  hadc2.Init.EOCSelection = ADC_EOC_SINGLE_CONV;
  hadc2.Init.LowPowerAutoWait = DISABLE;
  hadc2.Init.ContinuousConvMode = DISABLE;
  hadc2.Init.NbrOfConversion = 1;
  hadc2.Init.DiscontinuousConvMode = DISABLE;
  hadc2.Init.ExternalTrigConv = ADC_SOFTWARE_START;
  hadc2.Init.ExternalTrigConvEdge = ADC_EXTERNALTRIGCONVEDGE_NONE;
  hadc2.Init.ConversionDataManagement = ADC_CONVERSIONDATA_DR;
  hadc2.Init.Overrun = ADC_OVR_DATA_PRESERVED;
  hadc2.Init.LeftBitShift = ADC_LEFTBITSHIFT_2;
  hadc2.Init.OversamplingMode = DISABLE;
  if (HAL_ADC_Init(&hadc2) != HAL_OK)
  {
    Error_Handler();
  }
  HAL_ADCEx_DisableInjectedQueue(&hadc2);

  injected.InjectedChannel = ADC_CHANNEL_19;
  injected.InjectedRank = ADC_INJECTED_RANK_1;
  injected.InjectedSamplingTime = ADC_SAMPLETIME_8CYCLES_5;
  injected.InjectedSingleDiff = ADC_SINGLE_ENDED;
  injected.InjectedOffsetNumber = ADC_OFFSET_NONE;
  injected.InjectedOffset = 0;
  injected.InjectedNbrOfConversion = 2;
  injected.InjectedDiscontinuousConvMode = ENABLE;
  injected.AutoInjectedConv = DISABLE;
  injected.QueueInjectedContext = DISABLE;
  injected.ExternalTrigInjecConv = ADC_EXTERNALTRIGINJEC_T1_TRGO;
  injected.ExternalTrigInjecConvEdge = ADC_EXTERNALTRIGINJECCONV_EDGE_RISING;
  injected.InjecOversamplingMode = DISABLE;
  if (HAL_ADCEx_InjectedConfigChannel(&hadc2, &injected) != HAL_OK)
  {
    Error_Handler();
  }
  injected.InjectedChannel = ADC_CHANNEL_14;
  injected.InjectedRank = ADC_INJECTED_RANK_2;
  if (HAL_ADCEx_InjectedConfigChannel(&hadc2, &injected) != HAL_OK)
  {
    Error_Handler();
  }

  regular.Channel = ADC_CHANNEL_7;
  regular.Rank = ADC_REGULAR_RANK_1;
  regular.SamplingTime = ADC_SAMPLETIME_64CYCLES_5;
  regular.SingleDiff = ADC_SINGLE_ENDED;
  regular.OffsetNumber = ADC_OFFSET_NONE;
  regular.Offset = 0;
  if (HAL_ADC_ConfigChannel(&hadc2, &regular) != HAL_OK)
  {
    Error_Handler();
  }

  watchdog.WatchdogNumber = ADC_ANALOGWATCHDOG_1;
  watchdog.WatchdogMode = ADC_ANALOGWATCHDOG_SINGLE_REG;
  watchdog.Channel = ADC_CHANNEL_3;
  watchdog.ITMode = ENABLE;
  watchdog.HighThreshold = 9243U; /* Provisional +2 A; recentered at boot. */
  watchdog.LowThreshold = 7257U;  /* Provisional -2 A; recentered at boot. */
  if (HAL_ADC_AnalogWDGConfig(&hadc2, &watchdog) != HAL_OK)
  {
    Error_Handler();
  }
}

static void MX_SPI1_Init(void)
{
  hspi1.Instance = SPI1;
  hspi1.Init.Mode = SPI_MODE_MASTER;
  hspi1.Init.Direction = SPI_DIRECTION_2LINES;
  hspi1.Init.DataSize = SPI_DATASIZE_16BIT;
  hspi1.Init.CLKPolarity = SPI_POLARITY_HIGH;
  hspi1.Init.CLKPhase = SPI_PHASE_2EDGE;
  hspi1.Init.NSS = SPI_NSS_HARD_OUTPUT;
  hspi1.Init.BaudRatePrescaler = SPI_BAUDRATEPRESCALER_8;
  hspi1.Init.FirstBit = SPI_FIRSTBIT_MSB;
  hspi1.Init.TIMode = SPI_TIMODE_DISABLE;
  hspi1.Init.CRCCalculation = SPI_CRCCALCULATION_DISABLE;
  hspi1.Init.CRCPolynomial = 0;
  hspi1.Init.NSSPMode = SPI_NSS_PULSE_DISABLE;
  hspi1.Init.NSSPolarity = SPI_NSS_POLARITY_LOW;
  hspi1.Init.FifoThreshold = SPI_FIFO_THRESHOLD_01DATA;
  hspi1.Init.TxCRCInitializationPattern = SPI_CRC_INITIALIZATION_ALL_ZERO_PATTERN;
  hspi1.Init.RxCRCInitializationPattern = SPI_CRC_INITIALIZATION_ALL_ZERO_PATTERN;
  hspi1.Init.MasterSSIdleness = SPI_MASTER_SS_IDLENESS_01CYCLE;
  hspi1.Init.MasterInterDataIdleness = SPI_MASTER_INTERDATA_IDLENESS_00CYCLE;
  hspi1.Init.MasterReceiverAutoSusp = SPI_MASTER_RX_AUTOSUSP_DISABLE;
  hspi1.Init.MasterKeepIOState = SPI_MASTER_KEEP_IO_STATE_ENABLE;
  hspi1.Init.IOSwap = SPI_IO_SWAP_DISABLE;
  if (HAL_SPI_Init(&hspi1) != HAL_OK)
  {
    Error_Handler();
  }
}

static void MX_SPI3_Init(void)
{
  hspi3.Instance = SPI3;
  hspi3.Init.Mode = SPI_MODE_MASTER;
  hspi3.Init.Direction = SPI_DIRECTION_2LINES;
  hspi3.Init.DataSize = SPI_DATASIZE_8BIT;
  hspi3.Init.CLKPolarity = SPI_POLARITY_LOW;
  hspi3.Init.CLKPhase = SPI_PHASE_1EDGE;
  hspi3.Init.NSS = SPI_NSS_SOFT;
  hspi3.Init.BaudRatePrescaler = SPI_BAUDRATEPRESCALER_16;
  hspi3.Init.FirstBit = SPI_FIRSTBIT_MSB;
  hspi3.Init.TIMode = SPI_TIMODE_DISABLE;
  hspi3.Init.CRCCalculation = SPI_CRCCALCULATION_DISABLE;
  hspi3.Init.CRCPolynomial = 0;
  hspi3.Init.NSSPMode = SPI_NSS_PULSE_DISABLE;
  hspi3.Init.NSSPolarity = SPI_NSS_POLARITY_LOW;
  hspi3.Init.FifoThreshold = SPI_FIFO_THRESHOLD_01DATA;
  hspi3.Init.TxCRCInitializationPattern = SPI_CRC_INITIALIZATION_ALL_ZERO_PATTERN;
  hspi3.Init.RxCRCInitializationPattern = SPI_CRC_INITIALIZATION_ALL_ZERO_PATTERN;
  hspi3.Init.MasterSSIdleness = SPI_MASTER_SS_IDLENESS_00CYCLE;
  hspi3.Init.MasterInterDataIdleness = SPI_MASTER_INTERDATA_IDLENESS_00CYCLE;
  hspi3.Init.MasterReceiverAutoSusp = SPI_MASTER_RX_AUTOSUSP_DISABLE;
  hspi3.Init.MasterKeepIOState = SPI_MASTER_KEEP_IO_STATE_ENABLE;
  hspi3.Init.IOSwap = SPI_IO_SWAP_DISABLE;
  if (HAL_SPI_Init(&hspi3) != HAL_OK)
  {
    Error_Handler();
  }
}

static void MX_TIM1_Init(void)
{
  TIM_MasterConfigTypeDef master = {0};
  TIM_OC_InitTypeDef oc = {0};
  TIM_BreakDeadTimeConfigTypeDef deadtime = {0};

  htim1.Instance = TIM1;
  htim1.Init.Prescaler = TIM_CLOCK_DIVIDER - 1U;
  htim1.Init.CounterMode = TIM_COUNTERMODE_CENTERALIGNED1;
  htim1.Init.Period = PWM_PERIOD_CYCLES / 2U;
  /* TIM1采用DIV1；DTG=137时实际死区约530ns。 */
  htim1.Init.ClockDivision = TIM_CLOCKDIVISION_DIV1;
  htim1.Init.RepetitionCounter = REP_COUNTER;
  htim1.Init.AutoReloadPreload = TIM_AUTORELOAD_PRELOAD_DISABLE;
  if (HAL_TIM_PWM_Init(&htim1) != HAL_OK)
  {
    Error_Handler();
  }

  master.MasterOutputTrigger = TIM_TRGO_OC4REF;
  master.MasterOutputTrigger2 = TIM_TRGO2_RESET;
  master.MasterSlaveMode = TIM_MASTERSLAVEMODE_DISABLE;
  if (HAL_TIMEx_MasterConfigSynchronization(&htim1, &master) != HAL_OK)
  {
    Error_Handler();
  }

  oc.OCMode = TIM_OCMODE_PWM1;
  oc.Pulse = PWM_PERIOD_CYCLES / 4U;
  oc.OCPolarity = TIM_OCPOLARITY_HIGH;
  oc.OCNPolarity = TIM_OCNPOLARITY_HIGH;
  oc.OCFastMode = TIM_OCFAST_DISABLE;
  oc.OCIdleState = TIM_OCIDLESTATE_RESET;
  oc.OCNIdleState = TIM_OCNIDLESTATE_RESET;
  if ((HAL_TIM_PWM_ConfigChannel(&htim1, &oc, TIM_CHANNEL_1) != HAL_OK) ||
      (HAL_TIM_PWM_ConfigChannel(&htim1, &oc, TIM_CHANNEL_2) != HAL_OK) ||
      (HAL_TIM_PWM_ConfigChannel(&htim1, &oc, TIM_CHANNEL_3) != HAL_OK))
  {
    Error_Handler();
  }
  oc.OCMode = TIM_OCMODE_PWM2;
  oc.Pulse = (PWM_PERIOD_CYCLES / 2U) - HTMIN;
  if (HAL_TIM_PWM_ConfigChannel(&htim1, &oc, TIM_CHANNEL_4) != HAL_OK)
  {
    Error_Handler();
  }

  deadtime.OffStateRunMode = TIM_OSSR_ENABLE;
  deadtime.OffStateIDLEMode = TIM_OSSI_ENABLE;
  deadtime.LockLevel = TIM_LOCKLEVEL_OFF;
  deadtime.DeadTime = DEAD_TIME_COUNTS;
  deadtime.BreakState = TIM_BREAK_DISABLE;
  deadtime.BreakPolarity = TIM_BREAKPOLARITY_HIGH;
  deadtime.BreakFilter = 0;
  deadtime.Break2State = TIM_BREAK2_DISABLE;
  deadtime.Break2Polarity = TIM_BREAK2POLARITY_HIGH;
  deadtime.Break2Filter = 0;
  deadtime.AutomaticOutput = TIM_AUTOMATICOUTPUT_DISABLE;
  if (HAL_TIMEx_ConfigBreakDeadTime(&htim1, &deadtime) != HAL_OK)
  {
    Error_Handler();
  }
  HAL_TIM_MspPostInit(&htim1);
}

static void MX_USART1_UART_Init(void)
{
  huart1.Instance = USART1;
  huart1.Init.BaudRate = 460800;
  huart1.Init.WordLength = UART_WORDLENGTH_8B;
  huart1.Init.StopBits = UART_STOPBITS_1;
  huart1.Init.Parity = UART_PARITY_NONE;
  huart1.Init.Mode = UART_MODE_TX_RX;
  huart1.Init.HwFlowCtl = UART_HWCONTROL_NONE;
  huart1.Init.OverSampling = UART_OVERSAMPLING_16;
  /* USART1触觉链路使用单点采样，避免多数采样产生连续NE。 */
  huart1.Init.OneBitSampling = UART_ONE_BIT_SAMPLE_ENABLE;
  huart1.Init.ClockPrescaler = UART_PRESCALER_DIV1;
  huart1.AdvancedInit.AdvFeatureInit = UART_ADVFEATURE_NO_INIT;
  if (HAL_UART_Init(&huart1) != HAL_OK)
  {
    Error_Handler();
  }
  (void)HAL_UARTEx_SetTxFifoThreshold(&huart1, UART_TXFIFO_THRESHOLD_1_8);
  (void)HAL_UARTEx_SetRxFifoThreshold(&huart1, UART_RXFIFO_THRESHOLD_1_8);
  (void)HAL_UARTEx_DisableFifoMode(&huart1);
}

static void MX_USART2_UART_Init(void)
{
  huart2.Instance = USART2;
  huart2.Init.BaudRate = 460800;
  huart2.Init.WordLength = UART_WORDLENGTH_8B;
  huart2.Init.StopBits = UART_STOPBITS_1;
  huart2.Init.Parity = UART_PARITY_NONE;
  huart2.Init.Mode = UART_MODE_TX_RX;
  huart2.Init.HwFlowCtl = UART_HWCONTROL_NONE;
  huart2.Init.OverSampling = UART_OVERSAMPLING_16;
  /* 当前链路存在NE噪声标志，单点采样可避免边沿附近的多数采样分歧。 */
  huart2.Init.OneBitSampling = UART_ONE_BIT_SAMPLE_ENABLE;
  huart2.Init.ClockPrescaler = UART_PRESCALER_DIV1;
  huart2.AdvancedInit.AdvFeatureInit = UART_ADVFEATURE_NO_INIT;
  if (HAL_UART_Init(&huart2) != HAL_OK)
  {
    Error_Handler();
  }
  (void)HAL_UARTEx_SetTxFifoThreshold(&huart2, UART_TXFIFO_THRESHOLD_1_8);
  (void)HAL_UARTEx_SetRxFifoThreshold(&huart2, UART_RXFIFO_THRESHOLD_1_8);
  (void)HAL_UARTEx_DisableFifoMode(&huart2);
}

static void MX_USART10_UART_Init(void)
{
  huart10.Instance = USART10;
  huart10.Init.BaudRate = 460800;
  huart10.Init.WordLength = UART_WORDLENGTH_8B;
  huart10.Init.StopBits = UART_STOPBITS_1;
  huart10.Init.Parity = UART_PARITY_NONE;
  huart10.Init.Mode = UART_MODE_TX_RX;
  huart10.Init.HwFlowCtl = UART_HWCONTROL_NONE;
  huart10.Init.OverSampling = UART_OVERSAMPLING_16;
  huart10.Init.OneBitSampling = UART_ONE_BIT_SAMPLE_DISABLE;
  huart10.Init.ClockPrescaler = UART_PRESCALER_DIV1;
  huart10.AdvancedInit.AdvFeatureInit = UART_ADVFEATURE_NO_INIT;
  if (HAL_UART_Init(&huart10) != HAL_OK)
  {
    Error_Handler();
  }
  (void)HAL_UARTEx_SetTxFifoThreshold(&huart10, UART_TXFIFO_THRESHOLD_1_8);
  (void)HAL_UARTEx_SetRxFifoThreshold(&huart10, UART_RXFIFO_THRESHOLD_1_8);
  (void)HAL_UARTEx_DisableFifoMode(&huart10);
}

static void MX_DMA_Init(void)
{
  __HAL_RCC_DMA1_CLK_ENABLE();
}

static void MX_NVIC_Init(void)
{
  HAL_NVIC_SetPriority(TIM1_UP_IRQn, 0, 0);
  HAL_NVIC_EnableIRQ(TIM1_UP_IRQn);
  HAL_NVIC_SetPriority(ADC_IRQn, 2, 0);
  HAL_NVIC_EnableIRQ(ADC_IRQn);
  HAL_NVIC_SetPriority(USART1_IRQn, 6, 0);
  HAL_NVIC_EnableIRQ(USART1_IRQn);
  HAL_NVIC_SetPriority(USART2_IRQn, 6, 0);
  HAL_NVIC_EnableIRQ(USART2_IRQn);
  HAL_NVIC_SetPriority(USART10_IRQn, 6, 0);
  HAL_NVIC_EnableIRQ(USART10_IRQn);
#if GRIPPER_CAN_ENABLE
  HAL_NVIC_SetPriority(FDCAN1_IT0_IRQn, 6, 0);
  HAL_NVIC_EnableIRQ(FDCAN1_IT0_IRQn);
#endif
  HAL_NVIC_SetPriority(DMA1_Stream0_IRQn, 7, 0);
  HAL_NVIC_EnableIRQ(DMA1_Stream0_IRQn);
  HAL_NVIC_SetPriority(DMA1_Stream3_IRQn, 7, 0);
  HAL_NVIC_EnableIRQ(DMA1_Stream3_IRQn);
  HAL_NVIC_SetPriority(DMA1_Stream2_IRQn, 7, 0);
  HAL_NVIC_EnableIRQ(DMA1_Stream2_IRQn);
  HAL_NVIC_SetPriority(SPI3_IRQn, 7, 0);
  HAL_NVIC_EnableIRQ(SPI3_IRQn);
}

static void MX_GPIO_Init(void)
{
  GPIO_InitTypeDef GPIO_InitStruct = {0};

  /* GPIO Ports Clock Enable */
  __HAL_RCC_GPIOH_CLK_ENABLE();
  __HAL_RCC_GPIOA_CLK_ENABLE();
  __HAL_RCC_GPIOB_CLK_ENABLE();
  __HAL_RCC_GPIOC_CLK_ENABLE();
  __HAL_RCC_GPIOE_CLK_ENABLE();

  GPIO_InitStruct.Pin = M1_CURR_AMPL_U_Pin | M1_CURR_AMPL_V_Pin |
                        M1_CURR_AMPL_W_Pin | M1_BUS_CURRENT_Pin |
                        M1_BUS_VOLTAGE_Pin | M1_TEMPERATURE_Pin;
  GPIO_InitStruct.Mode = GPIO_MODE_ANALOG;
  GPIO_InitStruct.Pull = GPIO_NOPULL;
  HAL_GPIO_Init(GPIOA, &GPIO_InitStruct);

}

void StartDefaultTask(void *argument)
{
  for(;;)
  {
    osDelay(1);
  }
}

 /* MPU Configuration */

void MPU_Config(void)
{
  MPU_Region_InitTypeDef MPU_InitStruct = {0};

  /* Disables the MPU */
  HAL_MPU_Disable();

  /** Initializes and configures the Region and the memory to be protected
  */
  MPU_InitStruct.Enable = MPU_REGION_ENABLE;
  MPU_InitStruct.Number = MPU_REGION_NUMBER0;
  MPU_InitStruct.BaseAddress = 0x0;
  MPU_InitStruct.Size = MPU_REGION_SIZE_4GB;
  MPU_InitStruct.SubRegionDisable = 0x87;
  MPU_InitStruct.TypeExtField = MPU_TEX_LEVEL0;
  MPU_InitStruct.AccessPermission = MPU_REGION_NO_ACCESS;
  MPU_InitStruct.DisableExec = MPU_INSTRUCTION_ACCESS_DISABLE;
  MPU_InitStruct.IsShareable = MPU_ACCESS_SHAREABLE;
  MPU_InitStruct.IsCacheable = MPU_ACCESS_NOT_CACHEABLE;
  MPU_InitStruct.IsBufferable = MPU_ACCESS_NOT_BUFFERABLE;

  HAL_MPU_ConfigRegion(&MPU_InitStruct);
  /* Enables the MPU */
  HAL_MPU_Enable(MPU_PRIVILEGED_DEFAULT);

}

void HAL_TIM_PeriodElapsedCallback(TIM_HandleTypeDef *htim)
{
  if (htim->Instance == TIM6)
  {
    HAL_IncTick();
  }
}

void Error_Handler(void)
{
  __disable_irq();
  while (1)
  {
  }
}
